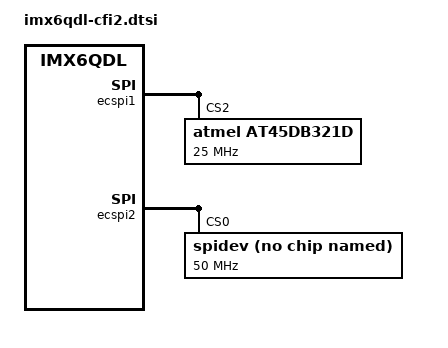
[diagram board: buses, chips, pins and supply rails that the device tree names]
/*
 * Copyright 2014 DH electronics GmbH
 * Copyright 2012 Freescale Semiconductor, Inc.
 * Copyright 2011 Linaro Ltd.
 *
 * The code contained herein is licensed under the GNU General Public
 * License. You may obtain a copy of the GNU General Public License
 * Version 2 or later at the following locations:
 *
 * http://www.opensource.org/licenses/gpl-license.html
 * http://www.gnu.org/copyleft/gpl.html
 */

/ {
};

&ecspi1 {									// ********** SPI 1 **********
	at45db321d@2 {
		#address-cells = <1>;
		#size-cells = <1>;
		compatible = "atmel,at45db321d", "atmel,at45", "atmel,dataflash";
		spi-max-frequency = <25000000>;
		reg = <2>;							// SS2
	};
};

&ecspi2 {									// ********** SPI 2 **********
	spidev@0 {								// ==> /dev/spidev1.0
		compatible = "spidev";
		reg = <0>;							// SS0
		spi-max-frequency = <50000000>;
		spi-cpha;							// Shifted clock phase (CPHA) mode
		spi-cpol;							// Inverse clock polarity (CPOL) mode
	};
};

/*
&iomuxc {
	pinctrl-names = "default";
	pinctrl-0 = <&pinctrl_hog>;

	hog {
		pinctrl_hog: hoggrp {
			fsl,pins = <
				MX6QDL_PAD_EIM_D27__GPIO3_IO27    0x80000000	// GPIO G -> Backlight Enable
				MX6QDL_PAD_SD1_DAT3__PWM1_OUT     0x80000000	// PWM -> Backlight Enable
				MX6QDL_PAD_KEY_ROW0__GPIO4_IO07   0x80000000	// GPIO H -> Touch Interrupt picoITX dh-touch
				MX6QDL_PAD_DI0_PIN4__GPIO4_IO20   0x1b0b0	// GPIO F
				MX6QDL_PAD_GPIO_4__GPIO1_IO04   0x80000000
				MX6QDL_PAD_GPIO_5__GPIO1_IO05   0x80000000
				MX6QDL_PAD_NANDF_D0__GPIO2_IO00 0x80000000
				MX6QDL_PAD_NANDF_D1__GPIO2_IO01 0x80000000
				MX6QDL_PAD_NANDF_D2__GPIO2_IO02 0x80000000
				MX6QDL_PAD_NANDF_D3__GPIO2_IO03 0x80000000
				MX6QDL_PAD_GPIO_0__CCM_CLKO1    0x130b0
				MX6QDL_PAD_NANDF_CLE__GPIO6_IO07 0x80000000
				MX6QDL_PAD_ENET_TXD1__GPIO1_IO29 0x80000000
				MX6QDL_PAD_EIM_D22__GPIO3_IO22  0x80000000
			>;
		};
	};
};*/
